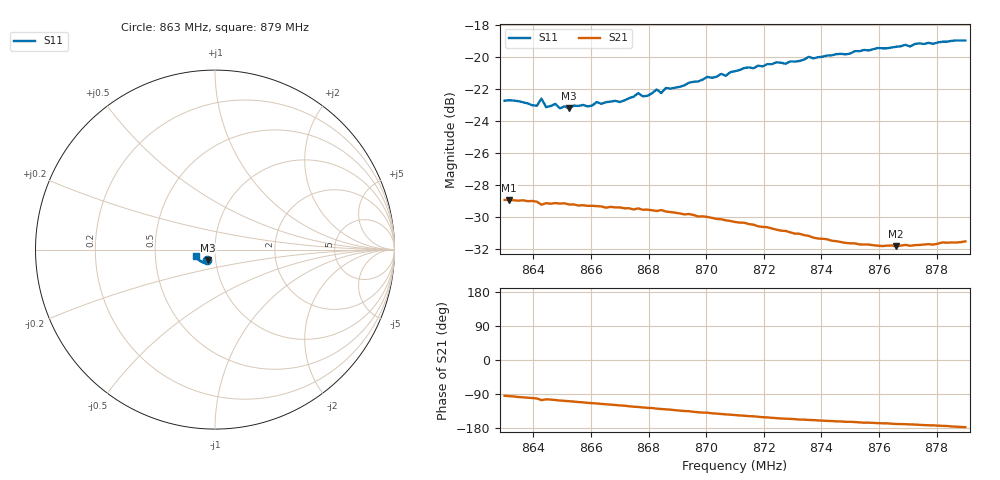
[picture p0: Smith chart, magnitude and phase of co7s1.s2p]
# HZ S RI R 50
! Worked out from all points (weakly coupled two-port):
!   101 points, 863 MHz to 879 MHz, reference 50 ohm
!   highest |S21| = -28.95 dB at 863.16 MHz (marker M1); lowest = -31.9 dB at 876.6 MHz (marker M2)
!   lowest |S11| = -23.2 dB at 865.24 MHz (marker M3), VSWR 1.15, Z = 46 - j5.3 ohm
!   |S11| at or under -10 dB: start of sweep to end of sweep
!   S12 and S22 are empty: the file has one direction only
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8.63e8  -0.0441 -0.0581  -0.00268 -0.0356  0 0  0 0
8.6316e8  -0.0451 -0.0577  -0.00336 -0.0355  0 0  0 0
8.6412e8  -0.0409 -0.0572  -0.00698 -0.0345  0 0  0 0
8.6428e8  -0.0453 -0.0586  -0.00945 -0.0331  0 0  0 0
8.6444e8  -0.0403 -0.0568  -0.0083 -0.0338  0 0  0 0
8.6476e8  -0.0411 -0.0583  -0.0094 -0.0336  0 0  0 0
8.6492e8  -0.0397 -0.0565  -0.0101 -0.0332  0 0  0 0
8.6524e8  -0.0384 -0.0574  -0.0111 -0.0327  0 0  0 0
8.6572e8  -0.0384 -0.0595  -0.0127 -0.0319  0 0  0 0
8.67e8  -0.0376 -0.0617  -0.0168 -0.0293  0 0  0 0
8.6764e8  -0.0394 -0.0662  -0.0188 -0.0278  0 0  0 0
8.6796e8  -0.0381 -0.0653  -0.0197 -0.0268  0 0  0 0
8.6828e8  -0.0404 -0.068  -0.0204 -0.0258  0 0  0 0
8.6844e8  -0.0394 -0.0663  -0.021 -0.0256  0 0  0 0
8.686e8  -0.0409 -0.0687  -0.0212 -0.025  0 0  0 0
8.71e8  -0.0534 -0.0727  -0.025 -0.0173  0 0  0 0
8.7276e8  -0.0638 -0.0707  -0.0258 -0.0121  0 0  0 0
8.7356e8  -0.0716 -0.07  -0.0256 -0.0102  0 0  0 0
8.7372e8  -0.0708 -0.0692  -0.0253 -0.00992  0 0  0 0
8.7644e8  -0.091 -0.0564  -0.0251 -0.00529  0 0  0 0
8.766e8  -0.0924 -0.0553  -0.0251 -0.00495  0 0  0 0
8.79e8  -0.1066 -0.0365  -0.0264 -0.0012  0 0  0 0
